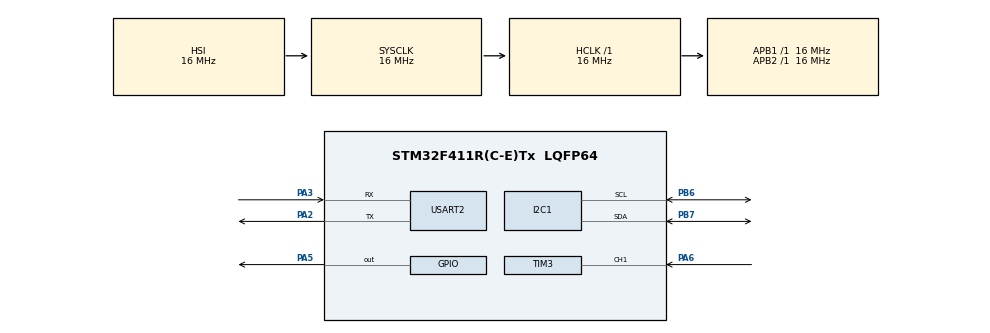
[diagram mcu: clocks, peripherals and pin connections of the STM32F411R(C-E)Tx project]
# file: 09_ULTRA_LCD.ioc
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Mcu.Family=STM32F4
Mcu.Name=STM32F411R(C-E)Tx
Mcu.Package=LQFP64
NVIC.PriorityGroup=NVIC_PRIORITYGROUP_4
NVIC.TIM1_TRG_COM_TIM11_IRQn=true\:0\:0\:false\:false\:true\:true\:true\:true
NVIC.TIM3_IRQn=true\:0\:0\:false\:false\:true\:true\:true\:true
NVIC.USART2_IRQn=true\:0\:0\:false\:false\:true\:true\:true\:true
PA13.Mode=Serial_Wire
PA13.Signal=SYS_JTMS-SWDIO
PA14.Mode=Serial_Wire
PA14.Signal=SYS_JTCK-SWCLK
PA2.Mode=Asynchronous
PA2.Signal=USART2_TX
PA3.Mode=Asynchronous
PA3.Signal=USART2_RX
PA5.Signal=GPIO_Output
PA6.Signal=S_TIM3_CH1
PB6.Mode=I2C
PB6.Signal=I2C1_SCL
PB7.Mode=I2C
PB7.Signal=I2C1_SDA
PH0\ -\ OSC_IN.Mode=HSE-External-Clock-Source
PH0\ -\ OSC_IN.Signal=RCC_OSC_IN
PH1\ -\ OSC_OUT.Mode=HSE-External-Clock-Source
PH1\ -\ OSC_OUT.Signal=RCC_OSC_OUT
ProjectManager.HeapSize=0x200
ProjectManager.StackSize=0x400
ProjectManager.TargetToolchain=STM32CubeIDE
RCC.AHBFreq_Value=16000000
RCC.APB1Freq_Value=16000000
RCC.APB2Freq_Value=16000000
RCC.CortexFreq_Value=16000000
RCC.HSE_VALUE=25000000
RCC.HSI_VALUE=16000000
RCC.LSE_VALUE=32768
RCC.SYSCLKFreq_VALUE=16000000
RCC.VCOOutputFreq_Value=192000000
SH.S_TIM3_CH1.0=TIM3_CH1,Input_Capture1_from_TI1
TIM3.Channel-Input_Capture1_from_TI1=TIM_CHANNEL_1
TIM3.Prescaler=100-1
USART2.VirtualMode=VM_ASYNC
VP_TIM11_VS_ClockSourceINT.Mode=Enable_Timer
VP_TIM3_VS_ClockSourceINT.Mode=Internal
board=custom

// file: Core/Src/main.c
/* USER CODE BEGIN Header */
/**
  ******************************************************************************
  * @file           : main.c
  * @brief          : Main program body
  ******************************************************************************
  * @attention
  *
  * Copyright (c) 2026 STMicroelectronics.
  * All rights reserved.
  *
  * This software is licensed under terms that can be found in the LICENSE file
  * in the root directory of this software component.
  * If no LICENSE file comes with this software, it is provided AS-IS.
  *
  ******************************************************************************
  */
/* USER CODE END Header */
#include "main.h"
#include "i2c.h"
#include "tim.h"
#include "usart.h"
#include "gpio.h"

/* USER CODE BEGIN Includes */
#include "delay.h"
#include "i2c_lcd.h"
#include "stdio.h"
/* USER CODE END Includes */

/* USER CODE BEGIN PD */
#define TRIG_PORT      GPIOA
#define TRIG_PIN         GPIO_PIN_5

/* USER CODE END PD */

/* USER CODE BEGIN PV */
uint16_t    IC_Value1 = 0;
uint16_t    IC_Value2 = 0;
uint16_t    echoTime = 0;
uint8_t      captureFlage = 0;
uint8_t      distance   = 0;
uint8_t     distance_bufffer[2] = {0};
/* USER CODE END PV */

void SystemClock_Config(void);

void HCSR4_TRIG(void){
    HAL_GPIO_WritePin(TRIG_PORT, TRIG_PIN, GPIO_PIN_SET);
   delay_us(10);
   HAL_GPIO_WritePin(TRIG_PORT, TRIG_PIN, GPIO_PIN_RESET);

   __HAL_TIM_ENABLE_IT(&htim3, TIM_IT_CC1);

}

void HAL_TIM_IC_CaptureCallback(TIM_HandleTypeDef *htim)
{
    if(htim->Channel == HAL_TIM_ACTIVE_CHANNEL_1){
        if(captureFlage == 0){
                IC_Value1= HAL_TIM_ReadCapturedValue(&htim3, TIM_CHANNEL_1); // echo pin 관련
                captureFlage = 1;
                __HAL_TIM_SET_CAPTUREPOLARITY(&htim3, TIM_CHANNEL_1, TIM_INPUTCHANNELPOLARITY_FALLING);
        }
        else if (captureFlage == 1){
            IC_Value2 = HAL_TIM_ReadCapturedValue(&htim3, TIM_CHANNEL_1);
         __HAL_TIM_SET_COUNTER(&htim3, 0);

         if(IC_Value2 > IC_Value1){
             echoTime = IC_Value2 - IC_Value1;
         }
         else if (IC_Value1 > IC_Value2){
             echoTime = 0xFFFF - IC_Value1 + IC_Value2; // 거리가 필요한거기 때문에, 이런 경우도 넣어주는것
                                                                                                      //                (IC_Value1) //|                     //|
                                                                                                     //                                      //     |               //      |
                                                                                                     //                                   //        |           //          |
                                                                                                     //                                //           |       //(IC_Value2) |
                                                                                                     //                             //              |   //                  |
                                                                                                     //                          //                 |//                     |
         }
         distance = echoTime / 58 ;  // cm
         captureFlage = 0;
         __HAL_TIM_SET_CAPTUREPOLARITY(&htim3, TIM_CHANNEL_1, TIM_INPUTCHANNELPOLARITY_RISING);
         __HAL_TIM_DISABLE_IT(&htim3,TIM_IT_CC1);
        }
    }
}

void ULTRA_LCD_test(void){
        lcd_string("LCD TEST");
        move_cusor(1, 0);
        lcd_string("Ready to Start");
        lcd_command(CLEAR_DISPLAY);
        HAL_Delay(2);
        move_cusor(1, 0);
           lcd_string("working good");
}

int main(void)
{

  /* MCU Configuration--------------------------------------------------------*/

  /* Reset of all peripherals, Initializes the Flash interface and the Systick. */
  HAL_Init();

  /* Configure the system clock */
  SystemClock_Config();

  /* Initialize all configured peripherals */
  MX_GPIO_Init();
  MX_I2C1_Init();
  MX_TIM3_Init();
  MX_USART2_UART_Init();
  MX_TIM11_Init();
  /* USER CODE BEGIN 2 */
  HAL_TIM_Base_Start(&htim11); // timer start
  HAL_TIM_IC_Start_IT(&htim3, TIM_CHANNEL_1);

  i2c_lcd_init();

  ULTRA_LCD_test();
  /* USER CODE END 2 */

  /* Infinite loop */
  /* USER CODE BEGIN WHILE */
  while (1)
  {
      HCSR4_TRIG();
     move_cusor(0, 10);
     lcd_string("000");
    //lcd_command(CLEAR_DISPLAY);
    //HAL_Delay(2);
    move_cusor(0, 0);
    lcd_string("Distance : ");
     move_cusor(0, 10);
    sprintf(distance_bufffer, "%d",distance);
     lcd_string(distance_bufffer);
   move_cusor(0, 13);
   lcd_string("cm");

    /* USER CODE END WHILE */

  }
}

void SystemClock_Config(void)
{
  RCC_OscInitTypeDef RCC_OscInitStruct = {0};
  RCC_ClkInitTypeDef RCC_ClkInitStruct = {0};

  /** Configure the main internal regulator output voltage
  */
  __HAL_RCC_PWR_CLK_ENABLE();
  __HAL_PWR_VOLTAGESCALING_CONFIG(PWR_REGULATOR_VOLTAGE_SCALE1);

  /** Initializes the RCC Oscillators according to the specified parameters
  * in the RCC_OscInitTypeDef structure.
  */
  RCC_OscInitStruct.OscillatorType = RCC_OSCILLATORTYPE_HSI;
  RCC_OscInitStruct.HSIState = RCC_HSI_ON;
  RCC_OscInitStruct.HSICalibrationValue = RCC_HSICALIBRATION_DEFAULT;
  RCC_OscInitStruct.PLL.PLLState = RCC_PLL_NONE;
  if (HAL_RCC_OscConfig(&RCC_OscInitStruct) != HAL_OK)
  {
    Error_Handler();
  }

  /** Initializes the CPU, AHB and APB buses clocks
  */
  RCC_ClkInitStruct.ClockType = RCC_CLOCKTYPE_HCLK|RCC_CLOCKTYPE_SYSCLK
                              |RCC_CLOCKTYPE_PCLK1|RCC_CLOCKTYPE_PCLK2;
  RCC_ClkInitStruct.SYSCLKSource = RCC_SYSCLKSOURCE_HSI;
  RCC_ClkInitStruct.AHBCLKDivider = RCC_SYSCLK_DIV1;
  RCC_ClkInitStruct.APB1CLKDivider = RCC_HCLK_DIV1;
  RCC_ClkInitStruct.APB2CLKDivider = RCC_HCLK_DIV1;

  if (HAL_RCC_ClockConfig(&RCC_ClkInitStruct, FLASH_LATENCY_0) != HAL_OK)
  {
    Error_Handler();
  }
}

void Error_Handler(void)
{
  __disable_irq();
  while (1)
  {
  }
}
